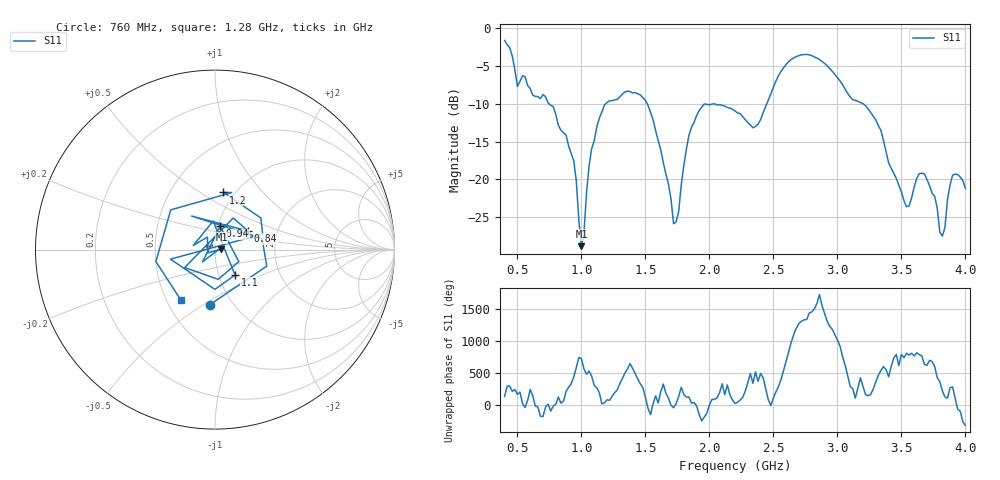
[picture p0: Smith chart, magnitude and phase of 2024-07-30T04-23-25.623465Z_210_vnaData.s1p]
!Created with skrf (http://scikit-rf.org).
# Hz S RI R 50.0
!freq ReS11 ImS11
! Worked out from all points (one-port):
!   181 points, 400 MHz to 4 GHz, reference 50 ohm
!   lowest |S11| = -28.8 dB at 1 GHz (marker M1), VSWR 1.08, Z = 53.8 + j0.28 ohm
!   |S11| at or under -10 dB: 747.2 MHz to 1.19 GHz (442.9 MHz wide, 45.7 % of centre); 1.514 GHz to 2.039 GHz (524.4 MHz wide, 29.5 % of centre); 3.202 GHz to end of sweep (the widest 3 of 4)
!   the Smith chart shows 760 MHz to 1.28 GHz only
!   S11 on the Smith chart (normalised r, x): 760 MHz: 0.78, -0.53; 840 MHz: 1.41, +0.31; 940 MHz: 1.02, +0.27; 1.1 GHz: 1.20, -0.35; 1.2 GHz: 0.89, +0.63; 1.28 GHz: 0.59, -0.37
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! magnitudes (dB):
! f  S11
! 400 MHz  -1.6
! 500 MHz  -7.7
! 760 MHz  -10.2
! 840 MHz  -13.5
! 860 MHz  -13.8
! 940 MHz  -17.5
! 1 GHz  -28.8
! 1.06 GHz  -18.2
! 1.1 GHz  -14.9
! 1.2 GHz  -9.8
! 1.28 GHz  -9.4
! 1.3 GHz  -9.1
! 1.52 GHz  -10.2
! 1.68 GHz  -20.6
! 1.72 GHz  -25.9
! 1.76 GHz  -24.2
! 1.84 GHz  -14.2
! 1.92 GHz  -10.9
! 2.2 GHz  -10.9
! 2.38 GHz  -12.7
! 2.66 GHz  -3.9
! 3.1 GHz  -9.1
! 3.3 GHz  -12.1
! 3.56 GHz  -23.5
! 3.68 GHz  -19.3
! 3.82 GHz  -27.5
! 3.9 GHz  -19.4
! 4 GHz  -21.2
